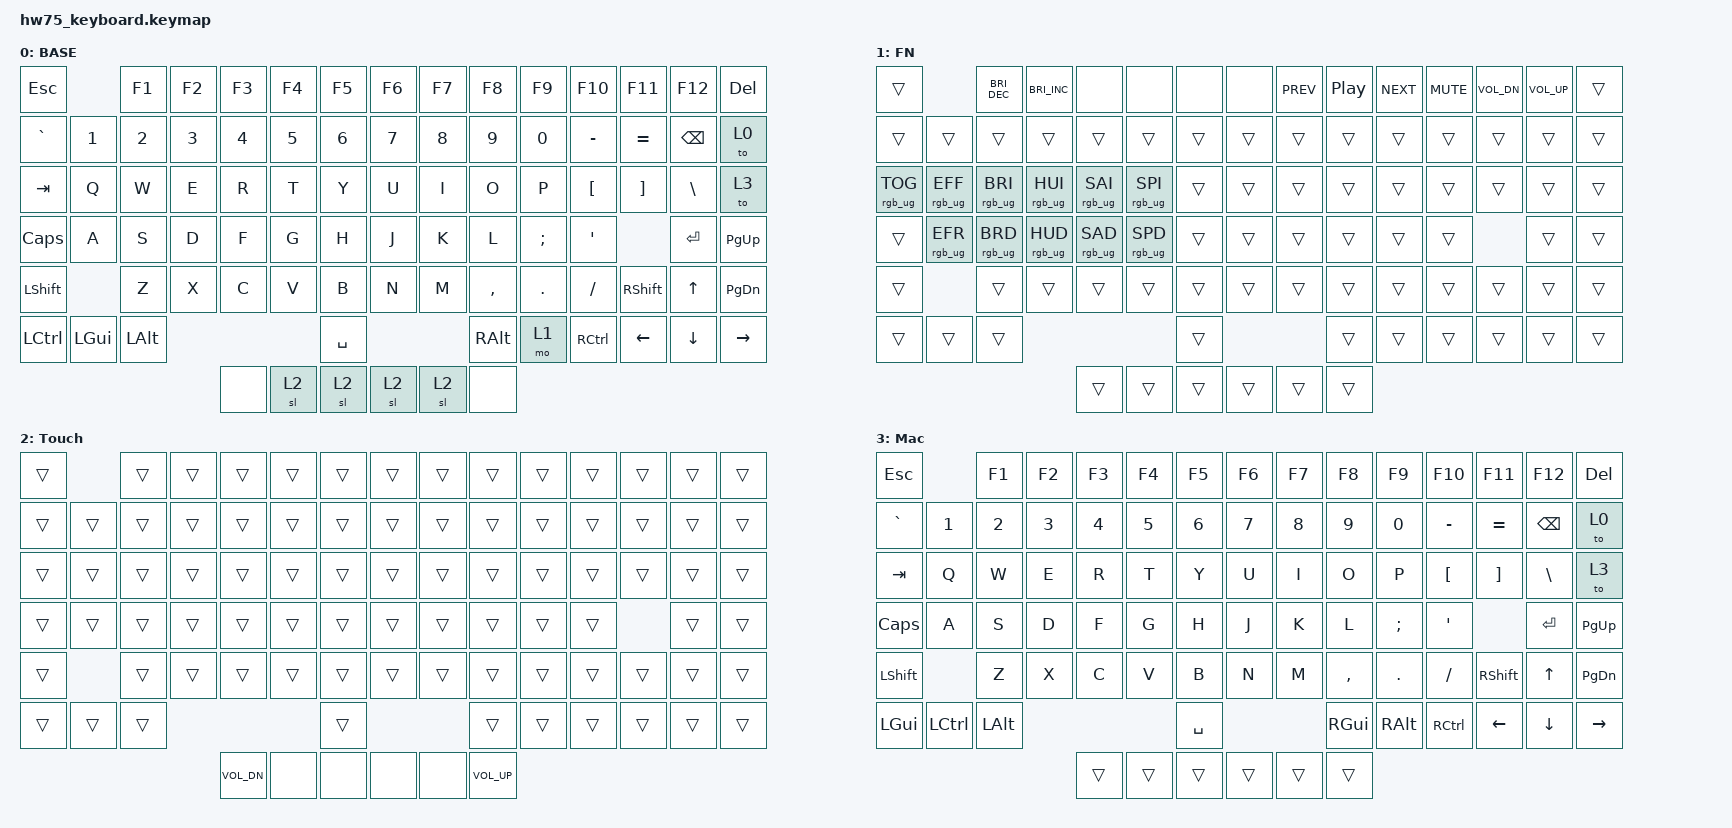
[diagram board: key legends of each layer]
/*
 * Copyright (c) 2022 The ZMK Contributors
 * SPDX-License-Identifier: MIT
 */

#include <behaviors.dtsi>
#include <dt-bindings/zmk/keys.h>
#include <dt-bindings/zmk/rgb.h>

#define BASE 0
#define FN 1
#define TOUCH 2

&sl {
    release-after-ms = <500>;
};

/ {
    keymap {
        compatible = "zmk,keymap";

        Win {
            label = "BASE";
            bindings = <
&kp ESC              &kp F1    &kp F2  &kp F3  &kp F4  &kp F5     &kp F6  &kp F7  &kp F8     &kp F9    &kp F10    &kp F11    &kp F12   &kp DELETE
&kp GRAVE  &kp N1    &kp N2    &kp N3  &kp N4  &kp N5  &kp N6     &kp N7  &kp N8  &kp N9     &kp N0    &kp MINUS  &kp EQUAL  &kp BSPC  &to 0
&kp TAB    &kp Q     &kp W     &kp E   &kp R   &kp T   &kp Y      &kp U   &kp I   &kp O      &kp P     &kp LBKT   &kp RBKT   &kp BSLH  &to 3
&kp CLCK   &kp A     &kp S     &kp D   &kp F   &kp G   &kp H      &kp J   &kp K   &kp L      &kp SEMI  &kp SQT               &kp RET   &kp PG_UP
&kp LSHFT            &kp Z     &kp X   &kp C   &kp V   &kp B      &kp N   &kp M   &kp COMMA  &kp DOT   &kp FSLH   &kp RSHFT  &kp UP    &kp PG_DN
&kp LCTRL  &kp LGUI  &kp LALT                          &kp SPACE                  &kp RALT   &mo 1     &kp RCTRL  &kp LEFT   &kp DOWN  &kp RIGHT
                                       &none   &sl 2   &sl 2      &sl 2   &sl 2   &none
            >;
        };

        fn {
            label = "FN";
            bindings = <
&trans                            &kp C_BRI_DEC    &kp C_BRI_INC    &none            &none            &none   &none   &kp C_PREV  &kp C_PP  &kp C_NEXT  &kp C_MUTE  &kp C_VOL_DN  &kp C_VOL_UP  &trans
&trans           &trans           &trans           &trans           &trans           &trans           &trans  &trans  &trans      &trans    &trans      &trans      &trans        &trans        &trans
&rgb_ug RGB_TOG  &rgb_ug RGB_EFF  &rgb_ug RGB_BRI  &rgb_ug RGB_HUI  &rgb_ug RGB_SAI  &rgb_ug RGB_SPI  &trans  &trans  &trans      &trans    &trans      &trans      &trans        &trans        &trans
&trans           &rgb_ug RGB_EFR  &rgb_ug RGB_BRD  &rgb_ug RGB_HUD  &rgb_ug RGB_SAD  &rgb_ug RGB_SPD  &trans  &trans  &trans      &trans    &trans      &trans                    &trans        &trans
&trans                            &trans           &trans           &trans           &trans           &trans  &trans  &trans      &trans    &trans      &trans      &trans        &trans        &trans
&trans           &trans           &trans                                                              &trans                      &trans    &trans      &trans      &trans        &trans        &trans
                                                                    &trans           &trans           &trans  &trans  &trans      &trans
            >;
        };

        touch {
            label = "Touch";
            bindings = <
&trans          &trans  &trans  &trans        &trans  &trans  &trans  &trans  &trans        &trans  &trans  &trans  &trans  &trans
&trans  &trans  &trans  &trans  &trans        &trans  &trans  &trans  &trans  &trans        &trans  &trans  &trans  &trans  &trans
&trans  &trans  &trans  &trans  &trans        &trans  &trans  &trans  &trans  &trans        &trans  &trans  &trans  &trans  &trans
&trans  &trans  &trans  &trans  &trans        &trans  &trans  &trans  &trans  &trans        &trans  &trans          &trans  &trans
&trans          &trans  &trans  &trans        &trans  &trans  &trans  &trans  &trans        &trans  &trans  &trans  &trans  &trans
&trans  &trans  &trans                                &trans                  &trans        &trans  &trans  &trans  &trans  &trans
                                &kp C_VOL_DN  &none   &none   &none   &none   &kp C_VOL_UP
            >;
        };

        Mac {
            bindings = <
&kp ESC               &kp F1    &kp F2  &kp F3  &kp F4  &kp F5     &kp F6  &kp F7  &kp F8     &kp F9    &kp F10    &kp F11    &kp F12    &kp DELETE
&kp GRAVE  &kp N1     &kp N2    &kp N3  &kp N4  &kp N5  &kp N6     &kp N7  &kp N8  &kp N9     &kp N0    &kp MINUS  &kp EQUAL  &kp BSPC   &to 0
&kp TAB    &kp Q      &kp W     &kp E   &kp R   &kp T   &kp Y      &kp U   &kp I   &kp O      &kp P     &kp LBKT   &kp RBKT   &kp BSLH   &to 3
&kp CAPS   &kp A      &kp S     &kp D   &kp F   &kp G   &kp H      &kp J   &kp K   &kp L      &kp SEMI  &kp APOS              &kp ENTER  &kp PG_UP
&kp LSHFT             &kp Z     &kp X   &kp C   &kp V   &kp B      &kp N   &kp M   &kp COMMA  &kp DOT   &kp FSLH   &kp RSHFT  &kp UP     &kp PG_DN
&kp LGUI   &kp LCTRL  &kp LALT                          &kp SPACE                  &kp RGUI   &kp RALT  &kp RCTRL  &kp LEFT   &kp DOWN   &kp RIGHT
                                        &trans  &trans  &trans     &trans  &trans  &trans
            >;
        };
    };
};
